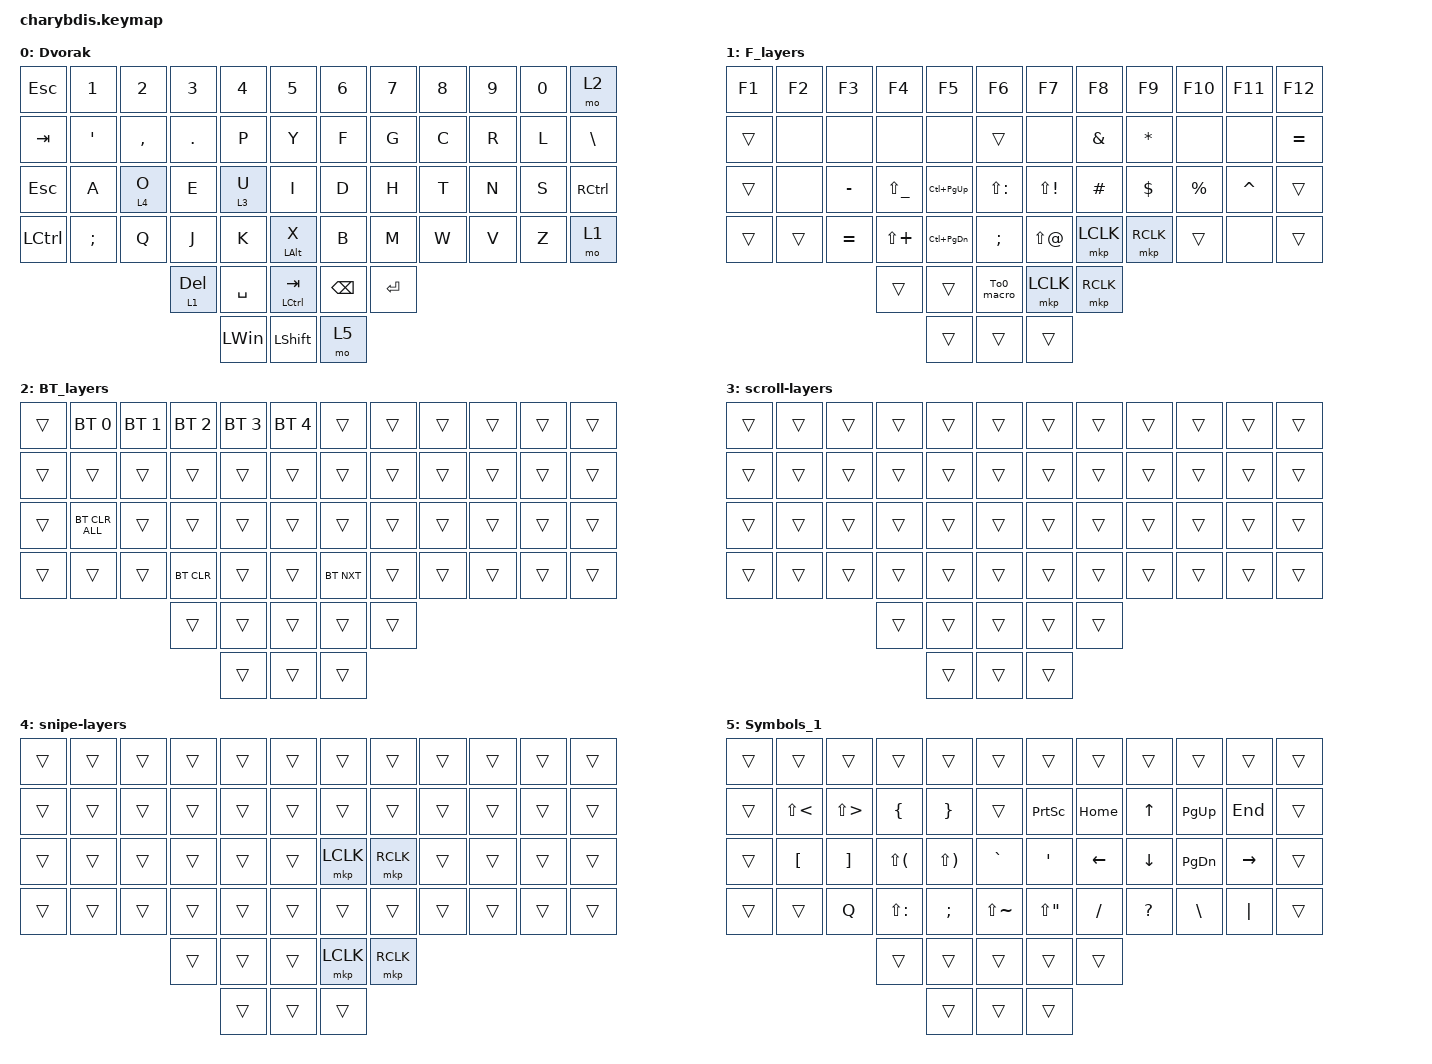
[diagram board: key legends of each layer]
#include <behaviors.dtsi>
#include <dt-bindings/zmk/bt.h>
#include <dt-bindings/zmk/keys.h>
#include <dt-bindings/zmk/pointing.h>
#include <dt-bindings/zmk/rgb.h>

&lt {
    tapping-term-ms = <200>;
    flavor = "balanced";
    quick-tap-ms = <150>;
};

/ {
    macros {
        To1_macro: To1_macro {
            compatible = "zmk,behavior-macro";
            label = "To1_macro";
            #binding-cells = <0>;
            bindings = <&rgb_ug RGB_EFF &rgb_ug RGB_COLOR_HSB(128,100,50) &to 1>;
        };

        To0_macro: To0_macro {
            compatible = "zmk,behavior-macro";
            label = "To0_macro";
            #binding-cells = <0>;
            bindings = <&rgb_ug RGB_EFR &to 0>;
        };

        To2_macro: To2_macro {
            compatible = "zmk,behavior-macro";
            label = "To2_macro";
            #binding-cells = <0>;
            bindings =
                <&to 2>,
                <&macro_wait_time 30>,
                <&rgb_ug RGB_COLOR_HSB(250,100,50)>;
        };
    };

    keymap {
        compatible = "zmk,keymap";

        Dvorak {
            bindings = <
&kp ESC    &kp N1            &kp N2     &kp N3        &kp N4        &kp N5            &kp N6         &kp N7     &kp N8  &kp N9  &kp N0  &mo 2
&kp TAB    &kp SINGLE_QUOTE  &kp COMMA  &kp PERIOD    &kp P         &kp Y             &kp F          &kp G      &kp C   &kp R   &kp L   &kp BSLH
&kp ESC    &kp A             &lt 4 O    &kp E         &lt 3 U       &kp I             &kp D          &kp H      &kp T   &kp N   &kp S   &kp RCTRL
&kp LCTRL  &kp SEMICOLON     &kp Q      &kp J         &kp K         &mt LEFT_ALT X    &kp B          &kp M      &kp W   &kp V   &kp Z   &mo 1
                                        &lt 1 DELETE  &kp SPACE     &mt LCTRL TAB     &kp BACKSPACE  &kp ENTER
                                                      &kp LEFT_WIN  &kp LEFT_SHIFT    &mo 5
            >;
        };

        F_layers {
            bindings = <
&kp F1  &kp F2  &kp F3     &kp F4         &kp F5             &kp F6           &kp F7        &kp F8     &kp F9        &kp F10      &kp F11    &kp F12
&trans  &none   &none      &none          &none              &trans           &none         &kp AMPS   &kp ASTERISK  &none        &none      &kp EQUAL
&trans  &none   &kp MINUS  &kp LS(UNDER)  &kp LC(PAGE_UP)    &kp LS(COLON)    &kp LS(EXCL)  &kp HASH   &kp DOLLAR    &kp PERCENT  &kp CARET  &trans
&trans  &trans  &kp EQUAL  &kp LS(PLUS)   &kp LC(PAGE_DOWN)  &kp SEMI         &kp LS(AT)    &mkp LCLK  &mkp RCLK     &trans       &none      &trans
                           &trans         &trans             &To0_macro       &mkp LCLK     &mkp RCLK
                                          &trans             &trans           &trans
            >;
        };

        BT_layers {
            bindings = <
&trans  &bt BT_SEL 0    &bt BT_SEL 1  &bt BT_SEL 2  &bt BT_SEL 3  &bt BT_SEL 4    &trans      &trans  &trans  &trans  &trans  &trans
&trans  &trans          &trans        &trans        &trans        &trans          &trans      &trans  &trans  &trans  &trans  &trans
&trans  &bt BT_CLR_ALL  &trans        &trans        &trans        &trans          &trans      &trans  &trans  &trans  &trans  &trans
&trans  &trans          &trans        &bt BT_CLR    &trans        &trans          &bt BT_NXT  &trans  &trans  &trans  &trans  &trans
                                      &trans        &trans        &trans          &trans      &trans
                                                    &trans        &trans          &trans
            >;
        };

        scroll-layers {
            bindings = <
&trans  &trans  &trans  &trans  &trans  &trans    &trans  &trans  &trans  &trans  &trans  &trans
&trans  &trans  &trans  &trans  &trans  &trans    &trans  &trans  &trans  &trans  &trans  &trans
&trans  &trans  &trans  &trans  &trans  &trans    &trans  &trans  &trans  &trans  &trans  &trans
&trans  &trans  &trans  &trans  &trans  &trans    &trans  &trans  &trans  &trans  &trans  &trans
                        &trans  &trans  &trans    &trans  &trans
                                &trans  &trans    &trans
            >;
        };

        snipe-layers {
            bindings = <
&trans  &trans  &trans  &trans  &trans  &trans    &trans     &trans     &trans  &trans  &trans  &trans
&trans  &trans  &trans  &trans  &trans  &trans    &trans     &trans     &trans  &trans  &trans  &trans
&trans  &trans  &trans  &trans  &trans  &trans    &mkp LCLK  &mkp RCLK  &trans  &trans  &trans  &trans
&trans  &trans  &trans  &trans  &trans  &trans    &trans     &trans     &trans  &trans  &trans  &trans
                        &trans  &trans  &trans    &mkp LCLK  &mkp RCLK
                                &trans  &trans    &trans
            >;
        };

        Symbols_1 {
            bindings = <
&trans  &trans      &trans      &trans          &trans           &trans           &trans           &trans     &trans        &trans         &trans     &trans
&trans  &kp LS(LT)  &kp LS(GT)  &kp LEFT_BRACE  &kp RIGHT_BRACE  &trans           &kp PRINTSCREEN  &kp HOME   &kp UP_ARROW  &kp PAGE_UP    &kp END    &trans
&trans  &kp LBKT    &kp RBKT    &kp LS(LPAR)    &kp LS(RPAR)     &kp GRAVE        &kp SQT          &kp LEFT   &kp DOWN      &kp PAGE_DOWN  &kp RIGHT  &trans
&trans  &trans      &kp Q       &kp LS(COLON)   &kp SEMI         &kp LS(TILDE)    &kp LS(DQT)      &kp SLASH  &kp QUESTION  &kp BACKSLASH  &kp PIPE   &trans
                                &trans          &trans           &trans           &trans           &trans
                                                &trans           &trans           &trans
            >;
        };
    };
};
